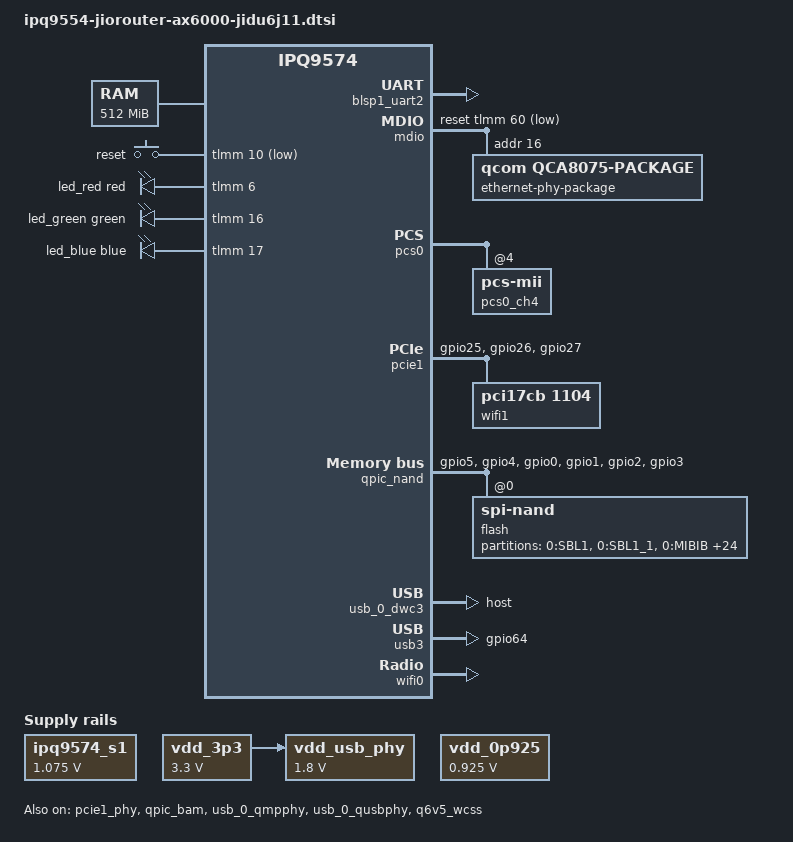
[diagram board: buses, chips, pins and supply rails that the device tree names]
// SPDX-License-Identifier: (GPL-2.0 OR MIT)

#include <dt-bindings/gpio/gpio.h>
#include <dt-bindings/input/input.h>
#include <dt-bindings/leds/common.h>

#include "ipq9574.dtsi"

/ {
	aliases {
		serial0 = &blsp1_uart2;
		led-boot = &led_red;
		led-failsafe = &led_red;
		led-running = &led_green;
		led-upgrade = &led_blue;
	};

	chosen {
		stdout-path = "serial0:115200n8";
	};

	memory@40000000 {
		device_type = "memory";
		reg = <0x0 0x40000000 0x0 0x20000000>;
	};

	gpio-keys {
		compatible = "gpio-keys";
		pinctrl-0 = <&gpio_keys_default>;
		pinctrl-names = "default";

		button-reset {
			label = "reset";
			linux,code = <KEY_RESTART>;
			gpios = <&tlmm 10 GPIO_ACTIVE_LOW>;
		};
	};

	leds {
		compatible = "gpio-leds";
		pinctrl-0 = <&gpio_leds_default>;
		pinctrl-names = "default";

		led_red: led-0 {
			color = <LED_COLOR_ID_RED>;
			function = LED_FUNCTION_STATUS;
			gpios = <&tlmm 6 GPIO_ACTIVE_HIGH>;
			default-state = "on";
		};

		led_green: led-1 {
			color = <LED_COLOR_ID_GREEN>;
			function = LED_FUNCTION_STATUS;
			gpios = <&tlmm 16 GPIO_ACTIVE_HIGH>;
		};

		led_blue: led-2 {
			color = <LED_COLOR_ID_BLUE>;
			function = LED_FUNCTION_STATUS;
			gpios = <&tlmm 17 GPIO_ACTIVE_HIGH>;
		};
	};

	/*
	 * The RPM MP5496 s1 rail (variable, 725-1075 mV) that the SoC dtsi's
	 * CPU OPP table expects is not exposed on this board: &rpm is disabled
	 * in hardware and in stock firmware, so VDD_CPU is a fixed 1.075 V
	 * supply.
	 */
	ipq9574_s1: regulator-cpu {
		compatible = "regulator-fixed";
		regulator-min-microvolt = <1075000>;
		regulator-max-microvolt = <1075000>;
		regulator-boot-on;
		regulator-always-on;
		regulator-name = "cpu-vdd";
	};

	vdd_3p3: regulator-3p3 {
		compatible = "regulator-fixed";
		regulator-min-microvolt = <3300000>;
		regulator-max-microvolt = <3300000>;
		regulator-boot-on;
		regulator-always-on;
		regulator-name = "fixed_3p3";
	};

	vdd_0p925: regulator-0p925 {
		compatible = "regulator-fixed";
		regulator-min-microvolt = <925000>;
		regulator-max-microvolt = <925000>;
		regulator-boot-on;
		regulator-always-on;
		regulator-name = "fixed_0p925";
	};

	/*
	 * 1.8 V USB PHY PLL supply, fed from the fixed 3.3 V rail. There is
	 * no RPM l5 regulator on this board to use instead.
	 */
	vdd_usb_phy: vdd-usb-phy {
		compatible = "regulator-fixed";
		regulator-min-microvolt = <1800000>;
		regulator-max-microvolt = <1800000>;
		regulator-boot-on;
		regulator-always-on;
		vin-supply = <&vdd_3p3>;
		regulator-name = "vdd_usb_phy";
	};
};

/*
 * The CPU supply is a fixed 1.075 V regulator, so pin every OPP to that
 * voltage instead of letting the OPP layer try to program 725-1062 mV into
 * a regulator that cannot vary.
 */
&cpu_opp_table {
	opp-936000000 {
		opp-microvolt = <1075000>;
	};

	opp-1104000000 {
		opp-microvolt = <1075000>;
	};

	opp-1200000000 {
		opp-microvolt = <1075000>;
	};

	opp-1416000000 {
		opp-microvolt = <1075000>;
	};

	opp-1488000000 {
		opp-microvolt = <1075000>;
	};
};

&blsp1_uart2 {
	pinctrl-0 = <&uart2_pins>;
	pinctrl-names = "default";
	status = "okay";
};

/*
 * The QCE crypto engine has no driver (CRYPTO_DEV_QCE is disabled and
 * upstream marked it BROKEN). The SoC dtsi enables it by default, which
 * leaves gcc-ipq9574's interconnect sync_state() pending forever and keeps
 * bandwidth votes at their boot-time maximum.
 */
&crypto {
	status = "disabled";
};

&cryptobam {
	status = "disabled";
};

&rpm {
	status = "disabled";
};

&qcom_ppe {
	assigned-clocks = <&nsscc NSS_CC_PORT1_RX_CLK_SRC>,
			   <&nsscc NSS_CC_PORT1_TX_CLK_SRC>,
			   <&nsscc NSS_CC_PORT2_RX_CLK_SRC>,
			   <&nsscc NSS_CC_PORT2_TX_CLK_SRC>,
			   <&nsscc NSS_CC_PORT3_RX_CLK_SRC>,
			   <&nsscc NSS_CC_PORT3_TX_CLK_SRC>,
			   <&nsscc NSS_CC_PORT4_RX_CLK_SRC>,
			   <&nsscc NSS_CC_PORT4_TX_CLK_SRC>,
			   <&nsscc NSS_CC_PORT5_RX_CLK_SRC>,
			   <&nsscc NSS_CC_PORT5_TX_CLK_SRC>;

	assigned-clock-rates = <125000000>, <125000000>, <125000000>,
			       <125000000>, <125000000>, <125000000>,
			       <125000000>, <125000000>, <125000000>,
			       <125000000>;

	ethernet-ports {
		#address-cells = <1>;
		#size-cells = <0>;

		wan: port@1 {
			reg = <1>;
			label = "wan";
			phy-mode = "psgmii";
			managed = "in-band-status";
			nvmem-cells = <&base_mac 0>;
			nvmem-cell-names = "mac-address";
			phy-handle = <&qca8075_0>;
			pcs-handle = <&pcs0_ch0>;
			clocks = <&nsscc NSS_CC_PORT1_MAC_CLK>,
				 <&nsscc NSS_CC_PORT1_RX_CLK>,
				 <&nsscc NSS_CC_PORT1_TX_CLK>;
			clock-names = "mac",
				      "rx",
				      "tx";
			resets = <&nsscc PORT1_MAC_ARES>,
				 <&nsscc PORT1_RX_ARES>,
				 <&nsscc PORT1_TX_ARES>;
			reset-names = "mac",
				      "rx",
				      "tx";
		};

		lan1: port@2 {
			reg = <2>;
			label = "lan1";
			phy-mode = "psgmii";
			managed = "in-band-status";
			nvmem-cells = <&base_mac 1>;
			nvmem-cell-names = "mac-address";
			phy-handle = <&qca8075_1>;
			pcs-handle = <&pcs0_ch1>;
			clocks = <&nsscc NSS_CC_PORT2_MAC_CLK>,
				 <&nsscc NSS_CC_PORT2_RX_CLK>,
				 <&nsscc NSS_CC_PORT2_TX_CLK>;
			clock-names = "mac",
				      "rx",
				      "tx";
			resets = <&nsscc PORT2_MAC_ARES>,
				 <&nsscc PORT2_RX_ARES>,
				 <&nsscc PORT2_TX_ARES>;
			reset-names = "mac",
				      "rx",
				      "tx";
		};

		lan2: port@3 {
			reg = <3>;
			label = "lan2";
			phy-mode = "psgmii";
			managed = "in-band-status";
			nvmem-cells = <&base_mac 1>;
			nvmem-cell-names = "mac-address";
			phy-handle = <&qca8075_2>;
			pcs-handle = <&pcs0_ch2>;
			clocks = <&nsscc NSS_CC_PORT3_MAC_CLK>,
				 <&nsscc NSS_CC_PORT3_RX_CLK>,
				 <&nsscc NSS_CC_PORT3_TX_CLK>;
			clock-names = "mac",
				      "rx",
				      "tx";
			resets = <&nsscc PORT3_MAC_ARES>,
				 <&nsscc PORT3_RX_ARES>,
				 <&nsscc PORT3_TX_ARES>;
			reset-names = "mac",
				      "rx",
				      "tx";
		};

		lan3: port@4 {
			reg = <4>;
			label = "lan3";
			phy-mode = "psgmii";
			managed = "in-band-status";
			nvmem-cells = <&base_mac 1>;
			nvmem-cell-names = "mac-address";
			phy-handle = <&qca8075_3>;
			pcs-handle = <&pcs0_ch3>;
			clocks = <&nsscc NSS_CC_PORT4_MAC_CLK>,
				 <&nsscc NSS_CC_PORT4_RX_CLK>,
				 <&nsscc NSS_CC_PORT4_TX_CLK>;
			clock-names = "mac",
				      "rx",
				      "tx";
			resets = <&nsscc PORT4_MAC_ARES>,
				 <&nsscc PORT4_RX_ARES>,
				 <&nsscc PORT4_TX_ARES>;
			reset-names = "mac",
				      "rx",
				      "tx";
		};

		lan4: port@5 {
			reg = <5>;
			label = "lan4";
			phy-mode = "psgmii";
			managed = "in-band-status";
			nvmem-cells = <&base_mac 1>;
			nvmem-cell-names = "mac-address";
			phy-handle = <&qca8075_4>;
			pcs-handle = <&pcs0_ch4>;
			clocks = <&nsscc NSS_CC_PORT5_MAC_CLK>,
				 <&nsscc NSS_CC_PORT5_RX_CLK>,
				 <&nsscc NSS_CC_PORT5_TX_CLK>;
			clock-names = "mac",
				      "rx",
				      "tx";
			resets = <&nsscc PORT5_MAC_ARES>,
				 <&nsscc PORT5_RX_ARES>,
				 <&nsscc PORT5_TX_ARES>;
			reset-names = "mac",
				      "rx",
				      "tx";
		};
	};
};

&mdio {
	status = "okay";
	reset-gpios = <&tlmm 60 GPIO_ACTIVE_LOW>;

	ethernet-phy-package@10 {
		compatible = "qcom,qca8075-package";
		reg = <0x10>;
		#address-cells = <1>;
		#size-cells = <0>;

		qca8075_0: ethernet-phy@10 {
			reg = <0x10>;
		};

		qca8075_1: ethernet-phy@11 {
			reg = <0x11>;
		};

		qca8075_2: ethernet-phy@12 {
			reg = <0x12>;
		};

		qca8075_3: ethernet-phy@13 {
			reg = <0x13>;
		};

		qca8075_4: ethernet-phy@14 {
			reg = <0x14>;
		};
	};
};

&pcs0 {
	pcs0_ch4: pcs-mii@4 {
		reg = <4>;
		clocks = <&nsscc NSS_CC_UNIPHY_PORT5_RX_CLK>,
			 <&nsscc NSS_CC_UNIPHY_PORT5_TX_CLK>;
		clock-names = "rx", "tx";
	};
};

&pcs1 {
	status = "disabled";
};

&pcs2 {
	status = "disabled";
};

&pcie1_phy {
	status = "okay";
};

&pcie1 {
	pinctrl-0 = <&pcie_qcn9074_pins>;
	pinctrl-names = "default";
	perst-gpios = <&tlmm 26 GPIO_ACTIVE_LOW>;
	status = "okay";

	pcie@0 {
		device_type = "pci";
		reg = <0x0 0x0 0x0 0x0 0x0>;
		bus-range = <0x01 0xff>;

		#address-cells = <3>;
		#size-cells = <2>;
		ranges;

		wifi1: wifi@0,0 {
			compatible = "pci17cb,1104";
			reg = <0x00010000 0 0 0 0>;
			qcom,ath11k-fw-memory-mode = <2>;
			nvmem-cells = <&cal_pci>, <&base_mac 3>;
			nvmem-cell-names = "calibration", "mac-address";
		};
	};
};

&qpic_bam {
	status = "okay";
};

&qpic_nand {
	pinctrl-0 = <&qpic_snand_default_state>;
	pinctrl-names = "default";
	status = "okay";

	flash@0 {
		compatible = "spi-nand";
		reg = <0>;
		#address-cells = <1>;
		#size-cells = <1>;
		nand-ecc-engine = <&qpic_nand>;

		partitions {
			compatible = "fixed-partitions";
			#address-cells = <1>;
			#size-cells = <1>;

			partition@0 {
				label = "0:SBL1";
				reg = <0x00000000 0x00180000>;
				read-only;
			};

			partition@180000 {
				label = "0:SBL1_1";
				reg = <0x00180000 0x00180000>;
				read-only;
			};

			partition@300000 {
				label = "0:MIBIB";
				reg = <0x00300000 0x00100000>;
				read-only;
			};

			partition@400000 {
				label = "0:BOOTCONFIG";
				reg = <0x00400000 0x00080000>;
				read-only;
			};

			partition@480000 {
				label = "0:BOOTCONFIG1";
				reg = <0x00480000 0x00080000>;
				read-only;
			};

			partition@500000 {
				label = "0:QSEE";
				reg = <0x00500000 0x00380000>;
				read-only;
			};

			partition@880000 {
				label = "0:QSEE_1";
				reg = <0x00880000 0x00380000>;
				read-only;
			};

			partition@c00000 {
				label = "0:DEVCFG_1";
				reg = <0x00c00000 0x00080000>;
				read-only;
			};

			partition@c80000 {
				label = "0:DEVCFG";
				reg = <0x00c80000 0x00080000>;
				read-only;
			};

			partition@d00000 {
				label = "0:APDP_1";
				reg = <0x00d00000 0x00080000>;
				read-only;
			};

			partition@d80000 {
				label = "0:APDP";
				reg = <0x00d80000 0x00080000>;
				read-only;
			};

			partition@e00000 {
				label = "0:TME";
				reg = <0x00e00000 0x00080000>;
				read-only;
			};

			partition@e80000 {
				label = "0:TME_1";
				reg = <0x00e80000 0x00080000>;
				read-only;
			};

			partition@f00000 {
				label = "0:RPM_1";
				reg = <0x00f00000 0x00080000>;
				read-only;
			};

			partition@f80000 {
				label = "0:RPM";
				reg = <0x00f80000 0x00080000>;
				read-only;
			};

			partition@1000000 {
				label = "0:CDT_1";
				reg = <0x01000000 0x00080000>;
				read-only;
			};

			partition@1080000 {
				label = "0:CDT";
				reg = <0x01080000 0x00080000>;
				read-only;
			};

			partition@1100000 {
				label = "0:APPSBLENV";
				reg = <0x01100000 0x00080000>;
			};

			partition@1180000 {
				label = "0:APPSBL_1";
				reg = <0x01180000 0x00180000>;
				read-only;
			};

			partition@1300000 {
				label = "0:APPSBL";
				reg = <0x01300000 0x00180000>;
				read-only;
			};

			partition@1480000 {
				label = "0:ART";
				reg = <0x01480000 0x00100000>;
				read-only;

				nvmem-layout {
					compatible = "fixed-layout";
					#address-cells = <1>;
					#size-cells = <1>;

					base_mac: base-mac@0 {
						compatible = "mac-base";
						reg = <0x0 0x6>;
						#nvmem-cell-cells = <1>;
					};

					cal_ahb: calibration@1000 {
						reg = <0x1000 0x20000>;
					};

					cal_pci: calibration@4c000 {
						reg = <0x4c000 0x20000>;
					};
				};
			};

			partition@1580000 {
				label = "0:ETHPHYFW";
				reg = <0x01580000 0x00100000>;
				read-only;
			};

			partition@1680000 {
				label = "0:TRAINING";
				reg = <0x01680000 0x00080000>;
				read-only;
			};

			partition@1700000 {
				label = "ubi";
				reg = <0x01700000 0x0e100000>;
			};

			partition@f800000 {
				label = "Jio-Reserved";
				reg = <0x0f800000 0x00200000>;
				read-only;
			};

			partition@fa00000 {
				label = "MFG";
				reg = <0x0fa00000 0x00200000>;
				read-only;
			};

			partition@fc00000 {
				label = "0:BDF";
				reg = <0x0fc00000 0x00200000>;
				read-only;
			};
		};
	};
};

&sleep_clk {
	clock-frequency = <32000>;
};

&tlmm {
	gpio_keys_default: gpio-keys-default-state {
		pins = "gpio10";
		function = "gpio";
		drive-strength = <8>;
		bias-pull-up;
	};

	gpio_leds_default: gpio-leds-default-state {
		pins = "gpio6", "gpio16", "gpio17";
		function = "gpio";
		drive-strength = <8>;
		bias-pull-up;
	};

	qpic_snand_default_state: qpic-snand-default-state {
		clock-pins {
			pins = "gpio5";
			function = "qspi_clk";
			drive-strength = <8>;
			bias-disable;
		};

		cs-pins {
			pins = "gpio4";
			function = "qspi_cs";
			drive-strength = <8>;
			bias-disable;
		};

		data-pins {
			pins = "gpio0", "gpio1", "gpio2", "gpio3";
			function = "qspi_data";
			drive-strength = <8>;
			bias-disable;
		};
	};

	/* PCIe 1 (QCN9074 5GHz) */
	pcie_qcn9074_pins: pcie-qcn9074-state {
		clkreq-n-pins {
			pins = "gpio25";
			function = "pcie1_clk";
			drive-strength = <6>;
			bias-pull-up;
		};

		perst-n-pins {
			pins = "gpio26";
			function = "gpio";
			drive-strength = <8>;
			bias-pull-up;
			output-low;
		};

		wake-n-pins {
			pins = "gpio27";
			function = "pcie1_wake";
			drive-strength = <6>;
			bias-pull-up;
		};
	};

	usb_supply_pin: usb-supply-pin {
		pins = "gpio64";
		function = "gpio";
		drive-strength = <8>;
		bias-pull-up;
		output-high;
	};
};

&usb_0_dwc3 {
	dr_mode = "host";
};

&usb_0_qmpphy {
	vdda-pll-supply = <&vdd_usb_phy>;
	vdda-phy-supply = <&vdd_0p925>;
	status = "okay";
};

&usb_0_qusbphy {
	vdd-supply = <&vdd_0p925>;
	vdda-pll-supply = <&vdd_usb_phy>;
	vdda-phy-dpdm-supply = <&vdd_3p3>;
	status = "okay";
};

&usb3 {
	pinctrl-0 = <&usb_supply_pin>;
	pinctrl-names = "default";
	status = "okay";
};

/*
 * The bootstrap pins for this board select a 24 MHz XO, so the WiFi
 * reference output is multiplied by 2 to reach 48 MHz (other IPQ9574 boards
 * use a 48 MHz XO with x1).
 */
&ref_48mhz_clk {
	clock-div = <1>;
	clock-mult = <2>;
};

&xo_board_clk {
	clock-div = <2>;
	clock-mult = <1>;
};

&xo_clk {
	clock-frequency = <24000000>;
};

&wifi0 {
	qcom,ath11k-fw-memory-mode = <2>;
	nvmem-cells = <&cal_ahb>, <&base_mac 2>;
	nvmem-cell-names = "calibration", "mac-address";
	clocks = <&xo_board_clk>;
	clock-names = "xo";
	status = "okay";
};

&q6v5_wcss {
	status = "okay";
};
